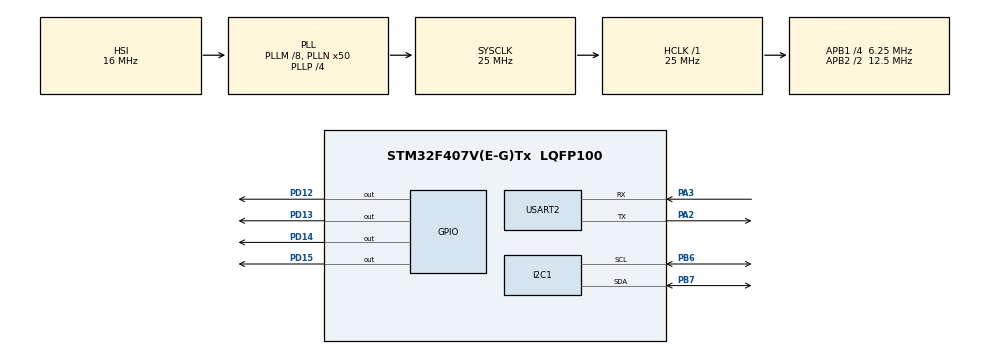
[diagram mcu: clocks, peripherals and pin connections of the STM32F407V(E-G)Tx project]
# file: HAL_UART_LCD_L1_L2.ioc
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Mcu.Family=STM32F4
Mcu.Name=STM32F407V(E-G)Tx
Mcu.Package=LQFP100
NVIC.PriorityGroup=NVIC_PRIORITYGROUP_0
PA2.Mode=Asynchronous
PA2.Signal=USART2_TX
PA3.Mode=Asynchronous
PA3.Signal=USART2_RX
PB6.Mode=I2C
PB6.Signal=I2C1_SCL
PB7.Mode=I2C
PB7.Signal=I2C1_SDA
PD12.Signal=GPIO_Output
PD13.Signal=GPIO_Output
PD14.Signal=GPIO_Output
PD15.Signal=GPIO_Output
ProjectManager.HeapSize=0x200
ProjectManager.StackSize=0x400
ProjectManager.TargetToolchain=STM32CubeIDE
RCC.48MHZClocksFreq_Value=14285714.285714285
RCC.AHBFreq_Value=25000000
RCC.APB1CLKDivider=RCC_HCLK_DIV4
RCC.APB1Freq_Value=6250000
RCC.APB1TimFreq_Value=12500000
RCC.APB2CLKDivider=RCC_HCLK_DIV2
RCC.APB2Freq_Value=12500000
RCC.APB2TimFreq_Value=25000000
RCC.CortexFreq_Value=25000000
RCC.HCLKFreq_Value=25000000
RCC.HSE_VALUE=8000000
RCC.HSI_VALUE=16000000
RCC.LSE_VALUE=32768
RCC.PLLM=8
RCC.PLLN=50
RCC.PLLP=RCC_PLLP_DIV4
RCC.PLLQ=7
RCC.SYSCLKFreq_VALUE=25000000
RCC.SYSCLKSource=RCC_SYSCLKSOURCE_PLLCLK
RCC.VCOOutputFreq_Value=100000000
USART2.VirtualMode=VM_ASYNC
board=STM32F407G-DISC1

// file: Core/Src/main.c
/* USER CODE BEGIN Header */
/**
  ******************************************************************************
  * @file           : main.c
  * @brief          : Main program body
  ******************************************************************************
  * @attention
  *
  * Copyright (c) 2026 STMicroelectronics.
  * All rights reserved.
  *
  * This software is licensed under terms that can be found in the LICENSE file
  * in the root directory of this software component.
  * If no LICENSE file comes with this software, it is provided AS-IS.
  *
  ******************************************************************************
  */
/* USER CODE END Header */
#include "main.h"

/* USER CODE BEGIN Includes */
#include <string.h>
#include "lcd.h"
/* USER CODE END Includes */

I2C_HandleTypeDef hi2c1;

UART_HandleTypeDef huart2;

void SystemClock_Config(void);
static void MX_GPIO_Init(void);
static void MX_I2C1_Init(void);
static void MX_USART2_UART_Init(void);
/* USER CODE BEGIN PFP */
// util fn to input string from uart (until enter key i.e. \r)
void UART_Gets(char str[]) {
	char ch;
	for(int i=0; i<32; i++) {
		HAL_UART_Receive(&huart2, (uint8_t*)&ch, 1, HAL_MAX_DELAY);
		str[i] = ch;
		if(ch == '\r') {
			str[++i] = '\n';
			str[++i] = '\0';
			break;
		}
	}
}
/* USER CODE END PFP */

int main(void)
{

  /* MCU Configuration--------------------------------------------------------*/

  /* Reset of all peripherals, Initializes the Flash interface and the Systick. */
  HAL_Init();

  /* Configure the system clock */
  SystemClock_Config();

  /* Initialize all configured peripherals */
  MX_GPIO_Init();
  MX_I2C1_Init();
  MX_USART2_UART_Init();
  /* USER CODE BEGIN 2 */
  HAL_UART_Transmit(&huart2, (uint8_t*)"Enter Lin1 - L1 or Line2 - L2!\r\n", 34, HAL_MAX_DELAY);
  lcd_puts(LCD_LINE1, "Kunal M.");
  char str[100];
  /* USER CODE END 2 */

  /* Infinite loop */
  /* USER CODE BEGIN WHILE */
  while (1)
  {
	  HAL_UART_Transmit(&huart2, (uint8_t*)"Enter a string: \r\n", 18, HAL_MAX_DELAY);
	  UART_Gets(str);

	  if(strstr(str, "L1") != NULL)
	  {
		  lcd_puts(LCD_LINE1, str);
	  }
	  else
		  lcd_puts(LCD_LINE2, str);
    /* USER CODE END WHILE */

  }
}

void SystemClock_Config(void)
{
  RCC_OscInitTypeDef RCC_OscInitStruct = {0};
  RCC_ClkInitTypeDef RCC_ClkInitStruct = {0};

  /** Configure the main internal regulator output voltage
  */
  __HAL_RCC_PWR_CLK_ENABLE();
  __HAL_PWR_VOLTAGESCALING_CONFIG(PWR_REGULATOR_VOLTAGE_SCALE1);

  /** Initializes the RCC Oscillators according to the specified parameters
  * in the RCC_OscInitTypeDef structure.
  */
  RCC_OscInitStruct.OscillatorType = RCC_OSCILLATORTYPE_HSI;
  RCC_OscInitStruct.HSIState = RCC_HSI_ON;
  RCC_OscInitStruct.HSICalibrationValue = RCC_HSICALIBRATION_DEFAULT;
  RCC_OscInitStruct.PLL.PLLState = RCC_PLL_ON;
  RCC_OscInitStruct.PLL.PLLSource = RCC_PLLSOURCE_HSI;
  RCC_OscInitStruct.PLL.PLLM = 8;
  RCC_OscInitStruct.PLL.PLLN = 50;
  RCC_OscInitStruct.PLL.PLLP = RCC_PLLP_DIV4;
  RCC_OscInitStruct.PLL.PLLQ = 7;
  if (HAL_RCC_OscConfig(&RCC_OscInitStruct) != HAL_OK)
  {
    Error_Handler();
  }

  /** Initializes the CPU, AHB and APB buses clocks
  */
  RCC_ClkInitStruct.ClockType = RCC_CLOCKTYPE_HCLK|RCC_CLOCKTYPE_SYSCLK
                              |RCC_CLOCKTYPE_PCLK1|RCC_CLOCKTYPE_PCLK2;
  RCC_ClkInitStruct.SYSCLKSource = RCC_SYSCLKSOURCE_PLLCLK;
  RCC_ClkInitStruct.AHBCLKDivider = RCC_SYSCLK_DIV1;
  RCC_ClkInitStruct.APB1CLKDivider = RCC_HCLK_DIV4;
  RCC_ClkInitStruct.APB2CLKDivider = RCC_HCLK_DIV2;

  if (HAL_RCC_ClockConfig(&RCC_ClkInitStruct, FLASH_LATENCY_0) != HAL_OK)
  {
    Error_Handler();
  }
}

static void MX_I2C1_Init(void)
{

  hi2c1.Instance = I2C1;
  hi2c1.Init.ClockSpeed = 100000;
  hi2c1.Init.DutyCycle = I2C_DUTYCYCLE_2;
  hi2c1.Init.OwnAddress1 = 0;
  hi2c1.Init.AddressingMode = I2C_ADDRESSINGMODE_7BIT;
  hi2c1.Init.DualAddressMode = I2C_DUALADDRESS_DISABLE;
  hi2c1.Init.OwnAddress2 = 0;
  hi2c1.Init.GeneralCallMode = I2C_GENERALCALL_DISABLE;
  hi2c1.Init.NoStretchMode = I2C_NOSTRETCH_DISABLE;
  if (HAL_I2C_Init(&hi2c1) != HAL_OK)
  {
    Error_Handler();
  }

}

static void MX_USART2_UART_Init(void)
{

  huart2.Instance = USART2;
  huart2.Init.BaudRate = 115200;
  huart2.Init.WordLength = UART_WORDLENGTH_8B;
  huart2.Init.StopBits = UART_STOPBITS_1;
  huart2.Init.Parity = UART_PARITY_NONE;
  huart2.Init.Mode = UART_MODE_TX_RX;
  huart2.Init.HwFlowCtl = UART_HWCONTROL_NONE;
  huart2.Init.OverSampling = UART_OVERSAMPLING_16;
  if (HAL_UART_Init(&huart2) != HAL_OK)
  {
    Error_Handler();
  }

}

static void MX_GPIO_Init(void)
{
  GPIO_InitTypeDef GPIO_InitStruct = {0};

  /* GPIO Ports Clock Enable */
  __HAL_RCC_GPIOA_CLK_ENABLE();
  __HAL_RCC_GPIOD_CLK_ENABLE();
  __HAL_RCC_GPIOB_CLK_ENABLE();

  /*Configure GPIO pin Output Level */
  HAL_GPIO_WritePin(GPIOD, GPIO_PIN_12|GPIO_PIN_13|GPIO_PIN_14|GPIO_PIN_15, GPIO_PIN_RESET);

  /*Configure GPIO pins : PD12 PD13 PD14 PD15 */
  GPIO_InitStruct.Pin = GPIO_PIN_12|GPIO_PIN_13|GPIO_PIN_14|GPIO_PIN_15;
  GPIO_InitStruct.Mode = GPIO_MODE_OUTPUT_PP;
  GPIO_InitStruct.Pull = GPIO_NOPULL;
  GPIO_InitStruct.Speed = GPIO_SPEED_FREQ_LOW;
  HAL_GPIO_Init(GPIOD, &GPIO_InitStruct);

}

void Error_Handler(void)
{
  __disable_irq();
  while (1)
  {
  }
}
